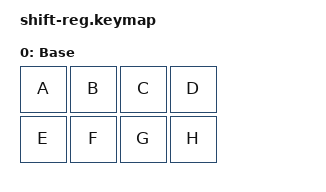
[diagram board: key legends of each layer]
/*
 * Copyright (c) 2020 The ZMK Contributors
 *
 * SPDX-License-Identifier: MIT
 */

#include <behaviors.dtsi>
#include <dt-bindings/zmk/keys.h>

/ {
    keymap {
        compatible = "zmk,keymap";

        qwerty_layer {
            display-name = "Base";
            bindings = <
&kp A      &kp B      &kp C      &kp D
&kp E      &kp F      &kp G      &kp H
            >;
        };
    };
};
